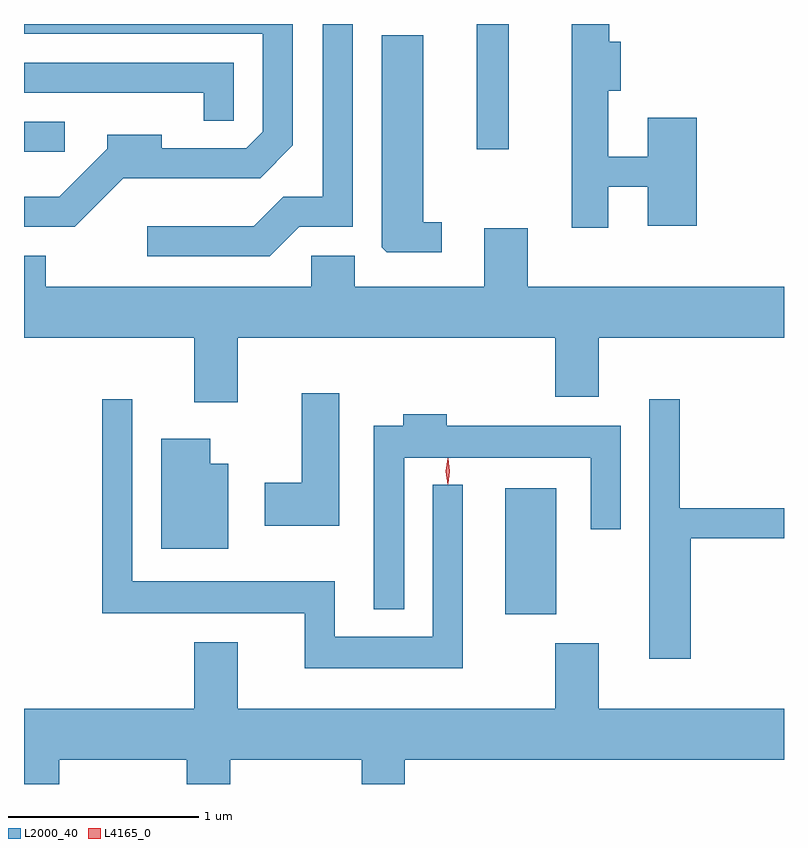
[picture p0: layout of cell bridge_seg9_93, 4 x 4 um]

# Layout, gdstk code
import gdstk
lib = gdstk.Library(unit=1e-6, precision=1e-09)
def R(c, l, rs):  # rectangles x0, y0, x1, y1
    for r in rs: c.add(gdstk.rectangle(r[:2], r[2:], *l))
def P(c, l, *ps):  # polygons
    for p in ps: c.add(gdstk.Polygon(p, *l))
L2000_40 = (2000, 40)
L4165_0 = (4165, 0)

bridge_seg9_93 = lib.new_cell('bridge_seg9_93')
R(bridge_seg9_93, L2000_40, [(1751.496,1981.481,1751.764,1982.144), (1748.964,1983.916,1749.178,1984.074), (1751.346,1983.928,1751.514,1984.588)])
P(bridge_seg9_93, L2000_40, [(1752.039,1983.731),(1752.246,1983.731),(1752.246,1983.526),(1752.504,1983.526),(1752.504,1984.094),(1752.246,1984.094),(1752.246,1983.889),(1752.039,1983.889),(1752.039,1984.236),(1752.104,1984.236),(1752.104,1984.494),(1752.044,1984.494),(1752.044,1984.588),(1751.846,1984.588),(1751.846,1983.516),(1752.039,1983.516)],
  [(1750.412,1983.521),(1750.694,1983.521),(1750.694,1984.588),(1750.536,1984.588),(1750.536,1983.679),(1750.329,1983.679),(1750.174,1983.524),(1749.613,1983.524),(1749.613,1983.366),(1750.257,1983.366)],
  [(1749.487,1983.776),(1750.207,1983.776),(1750.379,1983.949),(1750.379,1984.588),(1748.964,1984.588),(1748.964,1984.536),(1750.221,1984.536),(1750.221,1984.022),(1750.134,1983.934),(1749.689,1983.934),(1749.689,1984.004),(1749.401,1984.004),(1749.401,1983.932),(1749.149,1983.679),(1748.964,1983.679),(1748.964,1983.521),(1749.232,1983.521)],
  [(1751.163,1983.544),(1751.064,1983.544),(1751.064,1984.529),(1750.846,1984.529),(1750.846,1983.412),(1750.872,1983.386),(1751.163,1983.386)],
  [(1750.069,1984.384),(1748.964,1984.384),(1748.964,1984.226),(1749.911,1984.226),(1749.911,1984.078),(1750.069,1984.078)],
  [(1750.089,1982.936),(1751.761,1982.936),(1751.761,1982.626),(1751.989,1982.626),(1751.989,1982.936),(1752.964,1982.936),(1752.964,1983.204),(1751.614,1983.204),(1751.614,1983.514),(1751.386,1983.514),(1751.386,1983.204),(1750.704,1983.204),(1750.704,1983.369),(1750.476,1983.369),(1750.476,1983.204),(1749.079,1983.204),(1749.079,1983.369),(1748.964,1983.369),(1748.964,1982.936),(1749.861,1982.936),(1749.861,1982.596),(1750.089,1982.596)],
  [(1750.624,1982.644),(1750.426,1982.644),(1750.426,1982.174),(1750.231,1982.174),(1750.231,1981.946),(1750.624,1981.946)],
  [(1752.474,1981.881),(1752.964,1981.881),(1752.964,1982.039),(1752.414,1982.039),(1752.414,1982.613),(1752.256,1982.613),(1752.256,1981.246),(1752.474,1981.246)],
  [(1751.274,1982.163),(1751.116,1982.163),(1751.116,1981.364),(1750.599,1981.364),(1750.599,1981.654),(1749.534,1981.654),(1749.534,1982.613),(1749.376,1982.613),(1749.376,1981.486),(1750.441,1981.486),(1750.441,1981.196),(1751.274,1981.196)],
  [(1750.964,1982.306),(1751.946,1982.306),(1751.946,1981.928),(1752.104,1981.928),(1752.104,1982.474),(1751.189,1982.474),(1751.189,1982.534),(1750.961,1982.534),(1750.961,1982.474),(1750.806,1982.474),(1750.806,1981.508),(1750.964,1981.508)],
  [(1750.039,1982.274),(1749.944,1982.274),(1749.944,1982.404),(1749.686,1982.404),(1749.686,1981.826),(1750.039,1981.826)],
  [(1749.149,1980.716),(1749.821,1980.716),(1749.821,1980.588),(1750.049,1980.588),(1750.049,1980.716),(1750.741,1980.716),(1750.741,1980.588),(1750.969,1980.588),(1750.969,1980.716),(1752.964,1980.716),(1752.964,1980.984),(1751.989,1980.984),(1751.989,1981.329),(1751.761,1981.329),(1751.761,1980.984),(1750.089,1980.984),(1750.089,1981.334),(1749.861,1981.334),(1749.861,1980.984),(1748.964,1980.984),(1748.964,1980.588),(1749.149,1980.588)])
P(bridge_seg9_93, L4165_0, [(1751.194,1982.164),(1751.185,1982.233),(1751.195,1982.302),(1751.196,1982.303),(1751.196,1982.302),(1751.205,1982.233),(1751.195,1982.164),(1751.195,1982.164)],
  [(1751.196,1982.167),(1751.196,1982.167),(1751.186,1982.234),(1751.196,1982.3),(1751.196,1982.301),(1751.197,1982.3),(1751.206,1982.234),(1751.197,1982.167)])

lib.write_gds('bridge_seg9_93.gds')
